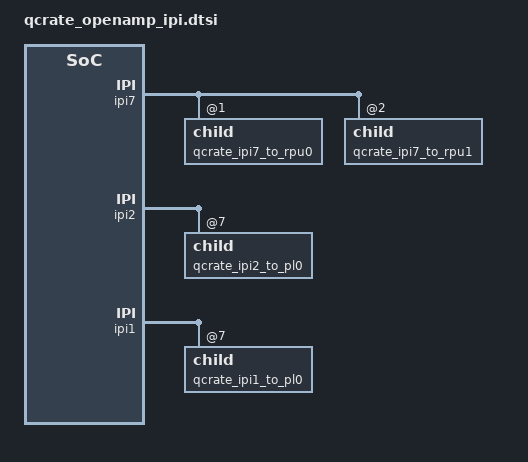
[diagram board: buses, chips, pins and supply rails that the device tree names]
/*
 * Linux OpenAMP uses IPI 7 as the A53-side endpoint because the default APU
 * IPI is reserved for platform-management communication.  The base SDT has
 * the controllers, but this XSA does not describe their mutual channels.
 * Vitis 2024.2 validates both stock ZynqMP RPU channels while generating an
 * OpenAMP application, even when the selected application domain is R5-0.
 */
&ipi7 {
	status = "okay";

	qcrate_ipi7_to_rpu0: child@1 {
		xlnx,ipi-bitmask = <0x100>;
		xlnx,ipi-rsp-msg-buf = <0xff990620>;
		xlnx,ipi-id = <1>;
		xlnx,ipi-buf-index = <0>;
		xlnx,ipi-req-msg-buf = <0xff990600>;
	};

	qcrate_ipi7_to_rpu1: child@2 {
		xlnx,ipi-bitmask = <0x200>;
		xlnx,ipi-rsp-msg-buf = <0xff990660>;
		xlnx,ipi-id = <2>;
		xlnx,ipi-buf-index = <1>;
		xlnx,ipi-req-msg-buf = <0xff990640>;
	};
};

&ipi2 {
	qcrate_ipi2_to_pl0: child@7 {
		xlnx,ipi-bitmask = <0x1000000>;
		xlnx,ipi-rsp-msg-buf = <0xff9902e0>;
		xlnx,ipi-id = <7>;
		xlnx,ipi-buf-index = <3>;
		xlnx,ipi-req-msg-buf = <0xff9902c0>;
	};
};

&ipi1 {
	qcrate_ipi1_to_pl0: child@7 {
		xlnx,ipi-bitmask = <0x1000000>;
		xlnx,ipi-rsp-msg-buf = <0xff9900e0>;
		xlnx,ipi-id = <7>;
		xlnx,ipi-buf-index = <3>;
		xlnx,ipi-req-msg-buf = <0xff9900c0>;
	};
};
